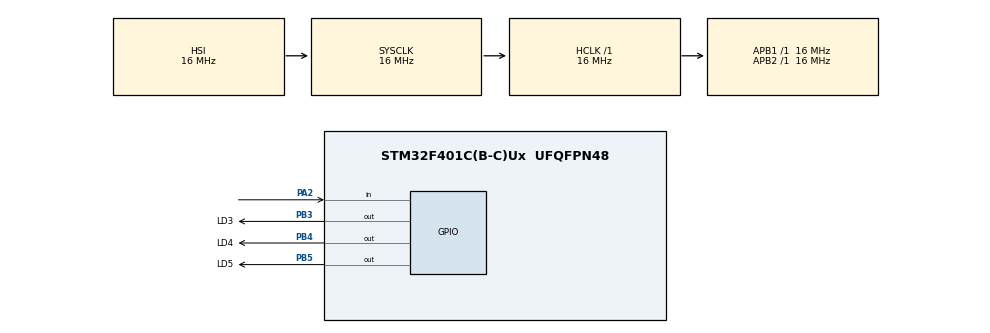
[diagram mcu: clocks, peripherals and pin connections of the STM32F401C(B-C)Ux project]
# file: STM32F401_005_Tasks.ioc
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Mcu.Family=STM32F4
Mcu.Name=STM32F401C(B-C)Ux
Mcu.Package=UFQFPN48
NVIC.PriorityGroup=NVIC_PRIORITYGROUP_4
NVIC.TIM4_IRQn=true\:15\:0\:false\:false\:true\:false\:true\:true
NVIC.TimeBase=TIM4_IRQn
NVIC.TimeBaseIP=TIM4
PA13.Mode=Serial_Wire
PA13.Signal=SYS_JTMS-SWDIO
PA14.Mode=Serial_Wire
PA14.Signal=SYS_JTCK-SWCLK
PA2.GPIO_PuPd=GPIO_PULLDOWN
PA2.Signal=GPIO_Input
PB3.GPIO_Label=LD3
PB3.Signal=GPIO_Output
PB4.GPIO_Label=LD4
PB4.Signal=GPIO_Output
PB5.GPIO_Label=LD5
PB5.Signal=GPIO_Output
ProjectManager.HeapSize=0x200
ProjectManager.StackSize=0x400
ProjectManager.TargetToolchain=STM32CubeIDE
RCC.AHBFreq_Value=16000000
RCC.APB1Freq_Value=16000000
RCC.APB2Freq_Value=16000000
RCC.CortexFreq_Value=16000000
RCC.HSE_VALUE=25000000
RCC.HSI_VALUE=16000000
RCC.LSE_VALUE=32768
RCC.SYSCLKFreq_VALUE=16000000
RCC.VCOOutputFreq_Value=192000000
VP_SYS_VS_tim4.Mode=TIM4
board=custom

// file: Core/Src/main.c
/* USER CODE BEGIN Header */
/**
  ******************************************************************************
  * @file           : main.c
  * @brief          : Main program body
  ******************************************************************************
  * @attention
  *
  * Copyright (c) 2024 STMicroelectronics.
  * All rights reserved.
  *
  * This software is licensed under terms that can be found in the LICENSE file
  * in the root directory of this software component.
  * If no LICENSE file comes with this software, it is provided AS-IS.
  *
  ******************************************************************************
  */
/* USER CODE END Header */
#include "main.h"

/* USER CODE BEGIN Includes */
#include "FreeRTOS.h"
#include "task.h"
#include "stdio.h"
/* USER CODE END Includes */

/* USER CODE BEGIN PD */
#define DWT_CTRL (*(volatile uint32_t *) 0xE0001000)
/* USER CODE END PD */

/* USER CODE BEGIN PV */
TaskHandle_t task1_handle;
TaskHandle_t task2_handle;
TaskHandle_t task3_handle;
TaskHandle_t task_btn_handle;

TaskHandle_t task_btn_handle;
BaseType_t status;

TaskHandle_t volatile next_task_handle = NULL;
/* USER CODE END PV */

void SystemClock_Config(void);
static void MX_GPIO_Init(void);
/* USER CODE BEGIN PFP */
static void Task1_Handler(void*);
static void Task2_Handler(void*);
static void Task3_Handler(void*);
static void Task_btn_Handler(void*);
/* USER CODE END PFP */

int main(void)
{

  /* MCU Configuration--------------------------------------------------------*/

  /* Reset of all peripherals, Initializes the Flash interface and the Systick. */
  HAL_Init();

  /* Configure the system clock */
  SystemClock_Config();

  /* Initialize all configured peripherals */
  MX_GPIO_Init();
  /* USER CODE BEGIN 2 */

  //enable the cycle counter (CYCCNT register)
  DWT_CTRL |= (1<<0);

  SEGGER_SYSVIEW_Conf();
  SEGGER_SYSVIEW_Start();

  status = xTaskCreate(Task1_Handler, "Task_1_o_5", 200, NULL, 3, &task1_handle);
  configASSERT(status == pdPASS);

  next_task_handle = task1_handle;

  status = xTaskCreate(Task2_Handler, "Task_2_g_5", 200,  NULL, 2, &task2_handle);
  configASSERT(status == pdPASS);

  status = xTaskCreate(Task3_Handler, "Task_3_r_5", 200, NULL, 1, &task3_handle);
  configASSERT(status == pdPASS);

  status = xTaskCreate(Task_btn_Handler, "Button_task_5", 200, NULL, 4, &task_btn_handle);
   configASSERT(status == pdPASS);

  vTaskStartScheduler(); //if the scheduler fails, this function will return.

  /* USER CODE END 2 */

  /* Infinite loop */
  while (1)
  {

  }
}

void SystemClock_Config(void)
{
  RCC_OscInitTypeDef RCC_OscInitStruct = {0};
  RCC_ClkInitTypeDef RCC_ClkInitStruct = {0};

  /** Configure the main internal regulator output voltage
  */
  __HAL_RCC_PWR_CLK_ENABLE();
  __HAL_PWR_VOLTAGESCALING_CONFIG(PWR_REGULATOR_VOLTAGE_SCALE2);

  /** Initializes the RCC Oscillators according to the specified parameters
  * in the RCC_OscInitTypeDef structure.
  */
  RCC_OscInitStruct.OscillatorType = RCC_OSCILLATORTYPE_HSI;
  RCC_OscInitStruct.HSIState = RCC_HSI_ON;
  RCC_OscInitStruct.HSICalibrationValue = RCC_HSICALIBRATION_DEFAULT;
  RCC_OscInitStruct.PLL.PLLState = RCC_PLL_NONE;
  if (HAL_RCC_OscConfig(&RCC_OscInitStruct) != HAL_OK)
  {
    Error_Handler();
  }

  /** Initializes the CPU, AHB and APB buses clocks
  */
  RCC_ClkInitStruct.ClockType = RCC_CLOCKTYPE_HCLK|RCC_CLOCKTYPE_SYSCLK
                              |RCC_CLOCKTYPE_PCLK1|RCC_CLOCKTYPE_PCLK2;
  RCC_ClkInitStruct.SYSCLKSource = RCC_SYSCLKSOURCE_HSI;
  RCC_ClkInitStruct.AHBCLKDivider = RCC_SYSCLK_DIV1;
  RCC_ClkInitStruct.APB1CLKDivider = RCC_HCLK_DIV1;
  RCC_ClkInitStruct.APB2CLKDivider = RCC_HCLK_DIV1;

  if (HAL_RCC_ClockConfig(&RCC_ClkInitStruct, FLASH_LATENCY_0) != HAL_OK)
  {
    Error_Handler();
  }
}

static void MX_GPIO_Init(void)
{
  GPIO_InitTypeDef GPIO_InitStruct = {0};

  /* GPIO Ports Clock Enable */
  __HAL_RCC_GPIOA_CLK_ENABLE();
  __HAL_RCC_GPIOB_CLK_ENABLE();

  /*Configure GPIO pin Output Level */
  HAL_GPIO_WritePin(GPIOB, LD3_Pin|LD4_Pin|LD5_Pin, GPIO_PIN_RESET);

  /*Configure GPIO pin : PA2 */
  GPIO_InitStruct.Pin = GPIO_PIN_2;
  GPIO_InitStruct.Mode = GPIO_MODE_INPUT;
  GPIO_InitStruct.Pull = GPIO_PULLDOWN;
  HAL_GPIO_Init(GPIOA, &GPIO_InitStruct);

  /*Configure GPIO pins : LD3_Pin LD4_Pin LD5_Pin */
  GPIO_InitStruct.Pin = LD3_Pin|LD4_Pin|LD5_Pin;
  GPIO_InitStruct.Mode = GPIO_MODE_OUTPUT_PP;
  GPIO_InitStruct.Pull = GPIO_NOPULL;
  GPIO_InitStruct.Speed = GPIO_SPEED_FREQ_LOW;
  HAL_GPIO_Init(GPIOB, &GPIO_InitStruct);

}

/* USER CODE BEGIN 4 */

static void Task1_Handler(void* parameters){

	BaseType_t status;

	while(1){
	  HAL_GPIO_TogglePin(GPIOB, LD4_Pin);
	  status = xTaskNotifyWait(0,0, NULL, pdMS_TO_TICKS(1000));
	  if(status == pdTRUE){
		  vTaskSuspendAll(); //modifying a global variable, when scheduler suspended preemption will not occur
		  next_task_handle = task2_handle;
		  xTaskResumeAll();
		  HAL_GPIO_WritePin(GPIOB, LD4_Pin, GPIO_PIN_SET);
			printf("%s\n","Delete task1");
		  vTaskDelete(NULL);
	  }
	}

}

static void Task2_Handler(void* parameters)
{
	BaseType_t status;

		while(1){
		  HAL_GPIO_TogglePin(GPIOB, LD3_Pin);
		  status = xTaskNotifyWait(0,0, NULL, pdMS_TO_TICKS(800));
		  if(status == pdTRUE){
			  vTaskSuspendAll();
			  next_task_handle = task3_handle;
			  xTaskResumeAll();
			  HAL_GPIO_WritePin(GPIOB, LD4_Pin, GPIO_PIN_SET);
				printf("%s\n","Delete task2");
			  vTaskDelete(NULL);
		  }
		}

}

static void Task3_Handler(void* parameters)
{
	BaseType_t status;

		while(1){
		  HAL_GPIO_TogglePin(GPIOB, LD5_Pin);
		  status = xTaskNotifyWait(0,0, NULL, pdMS_TO_TICKS(400));
		  if(status == pdTRUE){
			  vTaskSuspendAll();
			  next_task_handle = NULL;
			  xTaskResumeAll();
			  HAL_GPIO_WritePin(GPIOB, LD5_Pin, GPIO_PIN_SET);
			  vTaskDelete(task_btn_handle);
			  printf("%s\n","Delete button task");
			  vTaskDelete(NULL);
		  }
		}

}

static void Task_btn_Handler(void* parameters)
{
	uint8_t btn_read = 0;
	uint8_t prev_read = 0;
	while(1){
		btn_read = HAL_GPIO_ReadPin(GPIOA, GPIO_PIN_2);
		if(btn_read){
			if(!prev_read){
				xTaskNotify(next_task_handle,0,eNoAction);
			}

		}
		prev_read = btn_read;
		vTaskDelay(pdMS_TO_TICKS(10));
	}

}

/* USER CODE END 4 */

void HAL_TIM_PeriodElapsedCallback(TIM_HandleTypeDef *htim)
{
  if (htim->Instance == TIM4) {
    HAL_IncTick();
  }
}

void Error_Handler(void)
{
  __disable_irq();
  while (1)
  {
  }
}
